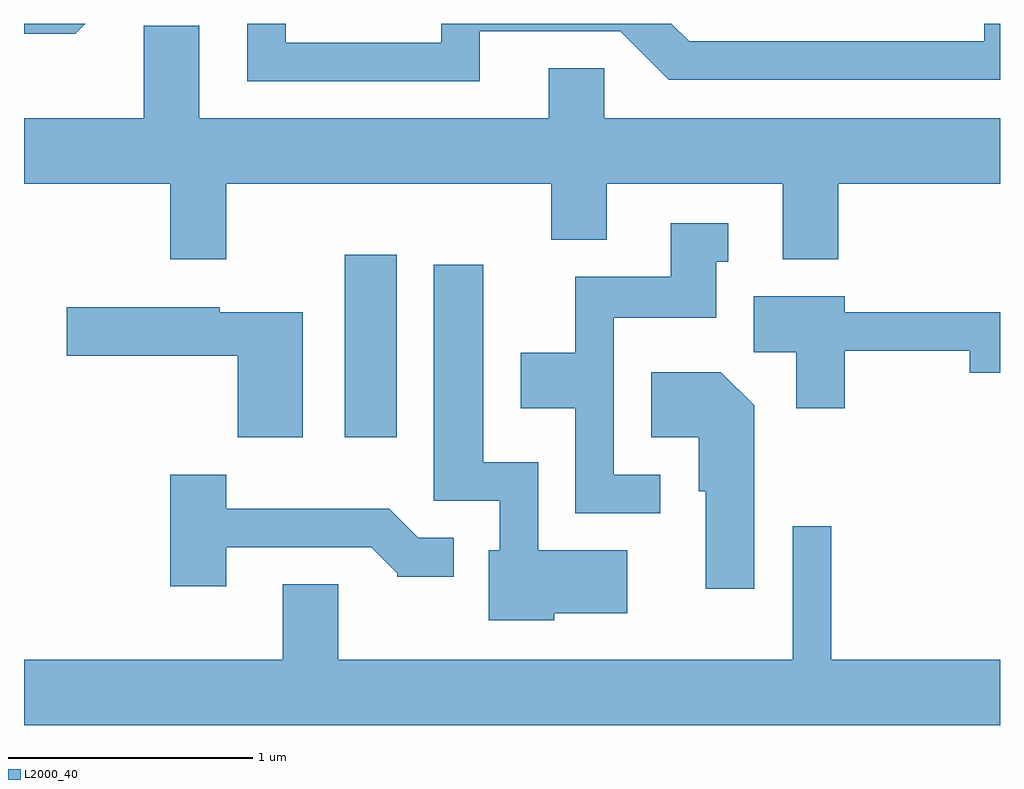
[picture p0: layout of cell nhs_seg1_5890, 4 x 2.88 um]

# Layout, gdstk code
import gdstk
lib = gdstk.Library(unit=1e-6, precision=1e-09)
def R(c, l, rs):  # rectangles x0, y0, x1, y1
    for r in rs: c.add(gdstk.rectangle(r[:2], r[2:], *l))
def P(c, l, *ps):  # polygons
    for p in ps: c.add(gdstk.Polygon(p, *l))
L2000_40 = (2000, 40)

nhs_seg1_5890 = lib.new_cell('nhs_seg1_5890')
R(nhs_seg1_5890, L2000_40, [(362.926,974.016,363.139,974.764)])
P(nhs_seg1_5890, L2000_40, [(361.863,975.712),(361.611,975.712),(361.611,975.671),(361.822,975.671)],
  [(363.479,975.681),(364.054,975.681),(364.254,975.481),(365.611,975.481),(365.611,975.712),(365.546,975.712),(365.546,975.639),(364.337,975.639),(364.264,975.712),(363.321,975.712),(363.321,975.634),(362.684,975.634),(362.684,975.712),(362.526,975.712),(362.526,975.476),(363.479,975.476)],
  [(362.329,975.704),(362.101,975.704),(362.101,975.324),(361.611,975.324),(361.611,975.056),(362.211,975.056),(362.211,974.746),(362.439,974.746),(362.439,975.056),(363.771,975.056),(363.771,974.826),(363.999,974.826),(363.999,975.056),(364.721,975.056),(364.721,974.746),(364.949,974.746),(364.949,975.056),(365.611,975.056),(365.611,975.324),(363.989,975.324),(363.989,975.529),(363.761,975.529),(363.761,975.324),(362.329,975.324)],
  [(364.218,973.864),(364.029,973.864),(364.029,974.506),(364.449,974.506),(364.449,974.736),(364.498,974.736),(364.498,974.894),(364.261,974.894),(364.261,974.674),(363.871,974.674),(363.871,974.364),(363.646,974.364),(363.646,974.136),(363.871,974.136),(363.871,973.706),(364.218,973.706)],
  [(363.784,973.296),(364.084,973.296),(364.084,973.554),(363.719,973.554),(363.719,973.914),(363.494,973.914),(363.494,974.724),(363.291,974.724),(363.291,973.756),(363.561,973.756),(363.561,973.554),(363.516,973.554),(363.516,973.266),(363.784,973.266)],
  [(364.974,974.371),(365.486,974.371),(365.486,974.281),(365.611,974.281),(365.611,974.529),(364.974,974.529),(364.974,974.594),(364.601,974.594),(364.601,974.366),(364.776,974.366),(364.776,974.136),(364.974,974.136)],
  [(362.754,974.529),(362.414,974.529),(362.414,974.549),(361.786,974.549),(361.786,974.351),(362.486,974.351),(362.486,974.016),(362.754,974.016)],
  [(364.604,974.147),(364.467,974.284),(364.181,974.284),(364.181,974.016),(364.376,974.016),(364.376,973.796),(364.406,973.796),(364.406,973.396),(364.604,973.396)],
  [(362.439,973.566),(363.034,973.566),(363.14,973.46),(363.14,973.446),(363.373,973.446),(363.373,973.604),(363.227,973.604),(363.107,973.724),(362.439,973.724),(362.439,973.864),(362.211,973.864),(362.211,973.406),(362.439,973.406)],
  [(365.611,973.104),(364.919,973.104),(364.919,973.653),(364.761,973.653),(364.761,973.104),(362.899,973.104),(362.899,973.414),(362.671,973.414),(362.671,973.104),(361.611,973.104),(361.611,972.836),(365.611,972.836)])

lib.write_gds('nhs_seg1_5890.gds')
